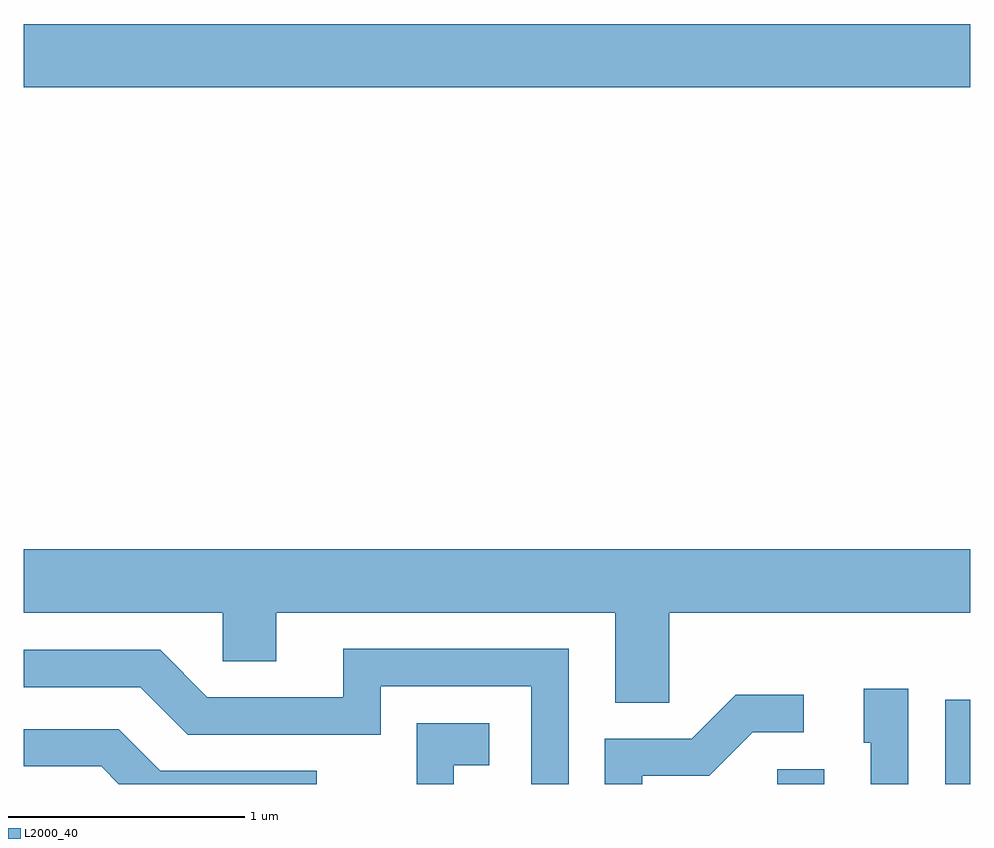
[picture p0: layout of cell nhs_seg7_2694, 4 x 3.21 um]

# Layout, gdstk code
import gdstk
lib = gdstk.Library(unit=1e-6, precision=1e-09)
def R(c, l, rs):  # rectangles x0, y0, x1, y1
    for r in rs: c.add(gdstk.rectangle(r[:2], r[2:], *l))
def P(c, l, *ps):  # polygons
    for p in ps: c.add(gdstk.Polygon(p, *l))
L2000_40 = (2000, 40)

nhs_seg7_2694 = lib.new_cell('nhs_seg7_2694')
R(nhs_seg7_2694, L2000_40, [(270.796,1720.252,270.994,1720.314), (271.506,1720.252,271.611,1720.609), (267.611,1723.196,271.611,1723.464)])
P(nhs_seg7_2694, L2000_40, [(270.339,1720.976),(271.611,1720.976),(271.611,1721.244),(267.611,1721.244),(267.611,1720.976),(268.451,1720.976),(268.451,1720.771),(268.679,1720.771),(268.679,1720.976),(270.111,1720.976),(270.111,1720.596),(270.339,1720.596)],
  [(269.914,1720.824),(268.961,1720.824),(268.961,1720.619),(268.387,1720.619),(268.187,1720.819),(267.611,1720.819),(267.611,1720.661),(268.104,1720.661),(268.304,1720.461),(269.119,1720.461),(269.119,1720.666),(269.756,1720.666),(269.756,1720.252),(269.914,1720.252)],
  [(271.349,1720.654),(271.161,1720.654),(271.161,1720.426),(271.191,1720.426),(271.191,1720.252),(271.349,1720.252)],
  [(270.224,1720.286),(270.507,1720.286),(270.692,1720.471),(270.908,1720.471),(270.908,1720.629),(270.619,1720.629),(270.434,1720.444),(270.066,1720.444),(270.066,1720.252),(270.224,1720.252)],
  [(269.429,1720.331),(269.579,1720.331),(269.579,1720.509),(269.271,1720.509),(269.271,1720.252),(269.429,1720.252)],
  [(268.849,1720.309),(268.187,1720.309),(268.012,1720.484),(267.611,1720.484),(267.611,1720.326),(267.939,1720.326),(268.013,1720.252),(268.849,1720.252)])

lib.write_gds('nhs_seg7_2694.gds')
